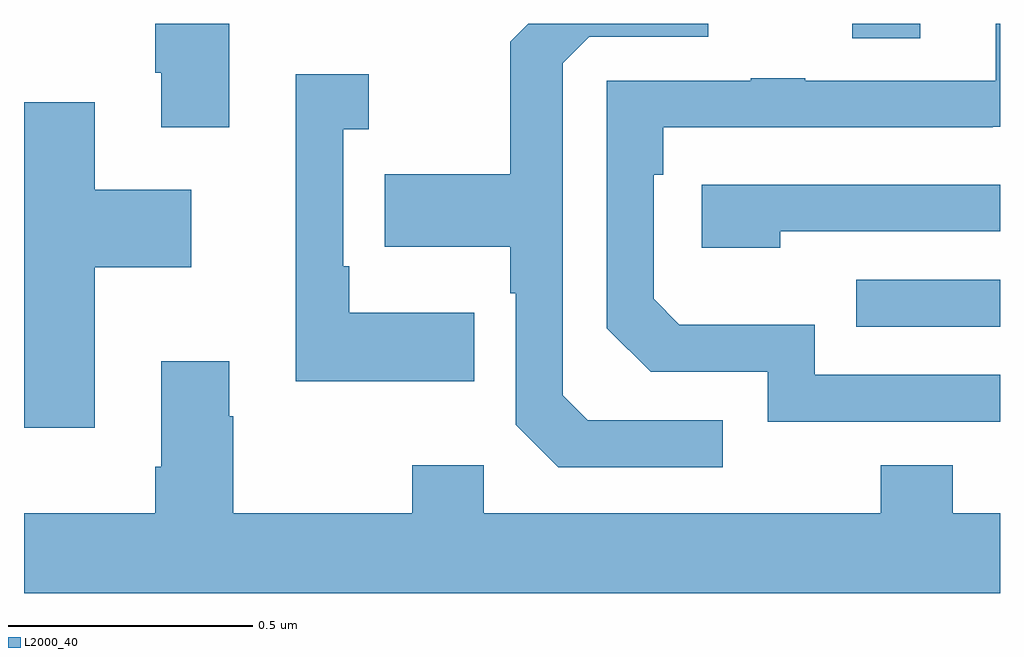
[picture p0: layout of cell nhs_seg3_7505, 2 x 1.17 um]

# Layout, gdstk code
import gdstk
lib = gdstk.Library(unit=1e-6, precision=1e-09)
def R(c, l, rs):  # rectangles x0, y0, x1, y1
    for r in rs: c.add(gdstk.rectangle(r[:2], r[2:], *l))
def P(c, l, *ps):  # polygons
    for p in ps: c.add(gdstk.Polygon(p, *l))
L2000_40 = (2000, 40)

nhs_seg3_7505 = lib.new_cell('nhs_seg3_7505')
R(nhs_seg3_7505, L2000_40, [(205.705,718.779,206,718.875), (205.697,719.37,205.837,719.4)])
P(nhs_seg3_7505, L2000_40, [(204.421,719.4),(204.269,719.4),(204.269,719.299),(204.281,719.299),(204.281,719.187),(204.421,719.187)],
  [(205.432,718.587),(205.155,718.587),(205.104,718.638),(205.104,719.319),(205.158,719.373),(205.402,719.373),(205.402,719.4),(205.033,719.4),(204.996,719.363),(204.996,719.091),(204.739,719.091),(204.739,718.943),(204.996,718.943),(204.996,718.847),(205.008,718.847),(205.008,718.578),(205.095,718.491),(205.432,718.491)],
  [(206,718.68),(205.62,718.68),(205.62,718.783),(205.343,718.783),(205.29,718.836),(205.29,719.09),(205.31,719.09),(205.31,719.187),(205.985,719.187),(205.985,719.188),(206,719.188),(206,719.4),(205.991,719.4),(205.991,719.283),(205.601,719.283),(205.601,719.288),(205.489,719.288),(205.489,719.283),(205.194,719.283),(205.194,718.776),(205.284,718.686),(205.524,718.686),(205.524,718.584),(206,718.584)],
  [(204.923,718.807),(204.667,718.807),(204.667,718.903),(204.654,718.903),(204.654,719.183),(204.706,719.183),(204.706,719.296),(204.557,719.296),(204.557,718.667),(204.923,718.667)],
  [(204.145,718.901),(204.343,718.901),(204.343,719.059),(204.145,719.059),(204.145,719.239),(204,719.239),(204,718.572),(204.145,718.572)],
  [(205.55,718.974),(206,718.974),(206,719.07),(205.389,719.07),(205.389,718.94),(205.55,718.94)],
  [(206,718.396),(205.903,718.396),(205.903,718.495),(205.756,718.495),(205.756,718.396),(204.942,718.396),(204.942,718.495),(204.796,718.495),(204.796,718.396),(204.429,718.396),(204.429,718.595),(204.421,718.595),(204.421,718.708),(204.281,718.708),(204.281,718.492),(204.269,718.492),(204.269,718.396),(204,718.396),(204,718.232),(206,718.232)])

lib.write_gds('nhs_seg3_7505.gds')
